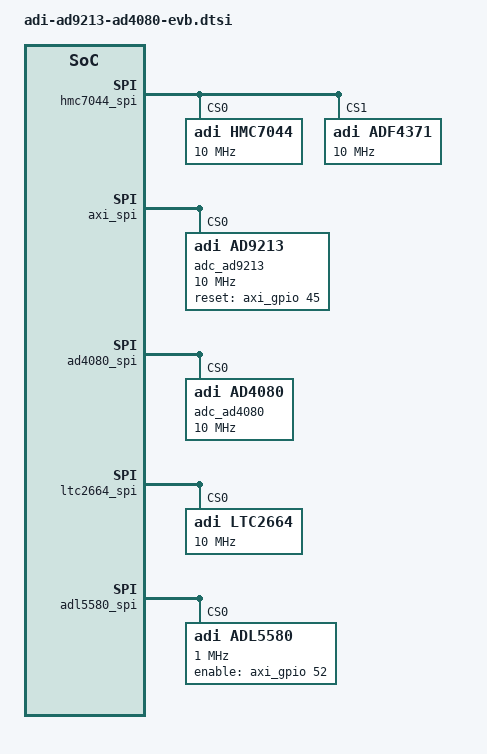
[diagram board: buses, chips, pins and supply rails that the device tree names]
// SPDX-License-Identifier: GPL-2.0iio
#include <dt-bindings/iio/frequency/hmc7044.h>

/{
	clocks {
		adf4371_clkin: clock@2 {
			#clock-cells = <0>;
			compatible = "fixed-clock";
			clock-frequency = <125000000>;
			clock-output-names = "clkin";
		};
	};
};

&amba_pl {
	hmc7044_spi: spi@44A71000 {
		#address-cells = <1>;
		#size-cells = <0>;
		bits-per-word = <8>;
		compatible = "xlnx,axi-quad-spi-3.2", "xlnx,xps-spi-2.00.a";
		fifo-size = <16>;
		interrupt-names = "ip2intc_irpt";
		interrupt-parent = <&axi_intc>;
		interrupts = <12 0>;
		num-cs = <0x2>;
		reg = <0x44A71000 0x1000>;
		xlnx,num-ss-bits = <0x2>;
		xlnx,spi-mode = <0>;

		status = "okay";

		hmc7044: hmc7044@0 {
			reg = <0>;
			#address-cells = <1>;
			#size-cells = <0>;
			#clock-cells = <1>;
			compatible = "adi,hmc7044";
			spi-max-frequency = <10000000>;

			jesd204-device;
			#jesd204-cells = <2>;
			jesd204-sysref-provider;
			adi,jesd204-max-sysref-frequency-hz = <20000000>;

			adi,pll1-clkin-frequencies = <0 0 0 125000000>;
			adi,vcxo-frequency = <125000000>;

			adi,pll1-loop-bandwidth-hz = <200>;

			adi,pll2-output-frequency = <2500000000>;


			adi,sysref-timer-divider = <1024>;
			adi,pulse-generator-mode = <0>;

            adi,clkin1-buffer-mode  = <0x15>;
			adi,clkin3-buffer-mode  = <0x15>;
			adi,oscin-buffer-mode = <0x15>;

			adi,gpi-controls = <0x00 0x00 0x00 0x00>;
			adi,gpo-controls = <0x1f 0x2b 0x33 0x37>;

			clock-output-names =
				"hmc7044_out0", "hmc7044_out1", "hmc7044_out2",
				"hmc7044_out3", "hmc7044_out4", "hmc7044_out5",
				"hmc7044_out6", "hmc7044_out7", "hmc7044_out8",
				"hmc7044_out9", "hmc7044_out10", "hmc7044_out11",
				"hmc7044_out12", "hmc7044_out13";

			hmc7044_c1: channel@1 {
				reg = <1>;
				adi,extended-name = "ADC_SYSREF";
				adi,divider = <128>;
				adi,driver-mode = <HMC7044_DRIVER_MODE_LVPECL>;
			    adi,jesd204-sysref-chan;
			};
			hmc7044_c3: channel@3 {
				reg = <3>;
				adi,extended-name = "FMC_SYSREF";
				adi,divider = <128>;
				adi,driver-mode = <HMC7044_DRIVER_MODE_LVPECL>;
			    adi,jesd204-sysref-chan;
			};
			hmc7044_c4: channel@4 {

				reg = <4>;
				adi,extended-name = "CLKOUT_MMCX";
				adi,divider = <8>;
				adi,driver-mode = <HMC7044_DRIVER_MODE_LVPECL>;
			};
			hmc7044_c5: channel@5 {
				reg = <5>;
				adi,extended-name = "FMC_CLK_COPY";
				adi,divider = <8>;
				adi,driver-mode = <HMC7044_DRIVER_MODE_LVPECL>;
			};
			hmc7044_c7: channel@7 {
				reg = <7>;
				adi,extended-name = "FMC_REFCLK";
				adi,divider = <4>;
				adi,driver-mode = <HMC7044_DRIVER_MODE_LVPECL>;
			};
			hmc7044_c9: channel@9 {
				reg = <9>;
				adi,extended-name = "FMC_REFCLK_COPY";
				adi,divider = <4>;
				adi,driver-mode = <HMC7044_DRIVER_MODE_LVPECL>;
			};
			hmc7044_c11: channel@11 {
				reg = <11>;
				adi,extended-name = "CORE_CLK";
				adi,divider = <8>;
				adi,driver-mode = <HMC7044_DRIVER_MODE_LVPECL>;
			};
			hmc7044_c0: channel@0 {
				reg = <0>;
				adi,extended-name = "AD4080_CNV";
				adi,divider = <80>;
				adi,driver-mode = <HMC7044_DRIVER_MODE_LVDS>;
                adi,high-performance-mode-disable;
			};
			hmc7044_c2: channel@2 {
				reg = <2>;
				adi,extended-name = "AD4080_CNV_COPY";
				adi,divider = <128>;
				adi,driver-mode = <HMC7044_DRIVER_MODE_CMOS>;
                adi,high-performance-mode-disable;
				adi,startup-mode-dynamic-enable;
				adi,driver-impedance-mode = <HMC7044_DRIVER_IMPEDANCE_50_OHM>;

			};
			hmc7044_c12: channel@12 {
				reg = <12>;
				adi,extended-name = "AD4080_CLK";
				adi,divider = <8>;
				adi,driver-mode = <HMC7044_DRIVER_MODE_LVDS>;
                                adi,high-performance-mode-disable;
			};
		};

		adf4371: adf4371@1 {
			compatible = "adi,adf4371";
			reg = <1>;

			#address-cells = <1>;
			#clock-cells = <1>;
			#size-cells = <0>;

			spi-max-frequency = <10000000>;
			adi,spi-3wire-enable;
			adi,muxout-select = <1>;
			clocks = <&adf4371_clkin>;
			clock-names = "clkin";
			clock-output-names = "pll0-clk-rf8", "pll0-clk-rfaux8",
				"pll0-clk-rf16", "pll0-clk-rf32";

			channel@2 {
				reg = <2>;
				adi,output-enable;
				adi,power-up-frequency = /bits/ 64 <10000000000>;
			};
		};
	};

	axi_spi: spi@44a70000 {
		status = "okay";

		adc_ad9213: ad9213@0 {
			compatible = "adi,ad9213";
			reg = <0>;
			#address-cells = <1>;
			#size-cells = <0>;
			spi-max-frequency = <10000000>;

			jesd204-device;
			#jesd204-cells = <2>;
			jesd204-top-device = <0>; /* This is the TOP device */
			jesd204-link-ids = <0>;
			jesd204-inputs = <&axi_ad9213_jesd_rx 0 0>;

			adi,octets-per-frame = <2>;
			adi,frames-per-multiframe = <32>;
			adi,converter-resolution = <16>;
			adi,bits-per-sample = <16>;
			adi,converters-per-device = <1>;
			adi,control-bits-per-sample = <0>;
			adi,lanes-per-device = <16>;
			adi,subclass = <1>;
			adi,high-density = <0>;
			adi,samples-per-converter-per-frame = <16>;
			reset-gpios = <&axi_gpio 45 GPIO_ACTIVE_HIGH>;
		};
	};

	ad4080_spi: spi@0x44A72000 {
		#address-cells = <1>;
		#size-cells = <0>;
		bits-per-word = <8>;
		compatible = "xlnx,axi-quad-spi-3.2", "xlnx,xps-spi-2.00.a";
		fifo-size = <16>;
		interrupt-names = "ip2intc_irpt";
		interrupt-parent = <&axi_intc>;
		interrupts = <13 0>;
		num-cs = <0x1>;
		reg = <0x44A72000 0x1000>;
		xlnx,num-ss-bits = <0x1>;
		xlnx,spi-mode = <0>;

		status = "okay";

		adc_ad4080: adc_ad4080@0 {
				compatible = "adi,ad4080";
				reg = <0>;
				#address-cells = <1>;
				#size-cells = <0>;
				spi-max-frequency = <10000000>;
				clocks = <&hmc7044 0>;
				clock-names = "adc_clk";
				num_lanes = <1>;
		};
	};

	ltc2664_spi: spi@44A74000 {
		#address-cells = <1>;
		#size-cells = <0>;
		bits-per-word = <8>;
		compatible = "xlnx,axi-quad-spi-3.2", "xlnx,xps-spi-2.00.a";
		fifo-size = <16>;
		interrupt-names = "ip2intc_irpt";
		interrupt-parent = <&axi_intc>;
		interrupts = <15 0>;
		num-cs = <0x1>;
		reg = <0x44A74000 0x1000>;
		xlnx,num-ss-bits = <0x1>;
		xlnx,spi-mode = <0>;

		status = "okay";
		ltc2664: ltc2664@0 {

			reg = <0>;
			#address-cells = <1>;
			#size-cells = <0>;

			compatible = "adi,ltc2664";
			spi-max-frequency = <10000000>;

			adi,manual-span-operation-config = <1>;

			channel@0 {
			        reg = <0>;
			        adi,output-range-microvolt = <(-5000000) 5000000>;
			};
			channel@1 {
			        reg = <1>;
			        adi,output-range-microvolt = <(-5000000) 5000000>;
			};
			channel@2 {
			        reg = <2>;
			        adi,output-range-microvolt = <(-5000000) 5000000>;
			};
		};
    };

    adl5580_spi: spi@44A73000 {
		#address-cells = <1>;
		#size-cells = <0>;
		bits-per-word = <8>;
		compatible = "xlnx,axi-quad-spi-3.2", "xlnx,xps-spi-2.00.a";
		fifo-size = <16>;
		interrupt-names = "ip2intc_irpt";
		interrupt-parent = <&axi_intc>;
		interrupts = <14 0>;
		num-cs = <0x1>;
		reg = <0x44A73000 0x1000>;
		xlnx,num-ss-bits = <0x1>;
		xlnx,spi-mode = <0>;

		status = "okay";

		adl5580: adl5580@0 {
			compatible = "adi,adl5580";
			reg = <0>;
			spi-max-frequency = <1000000>;
			enable-gpios = <&axi_gpio 52 GPIO_ACTIVE_HIGH>;

			adi,prg-otrm = <0x01>;
			adi,ms-otrm = <0x03>;
			adi,prg-itrm = <0x02>;
			adi,ms-itrm = <0x00>;
			adi,prg-cpeak = <3>;
		};
    };
};
